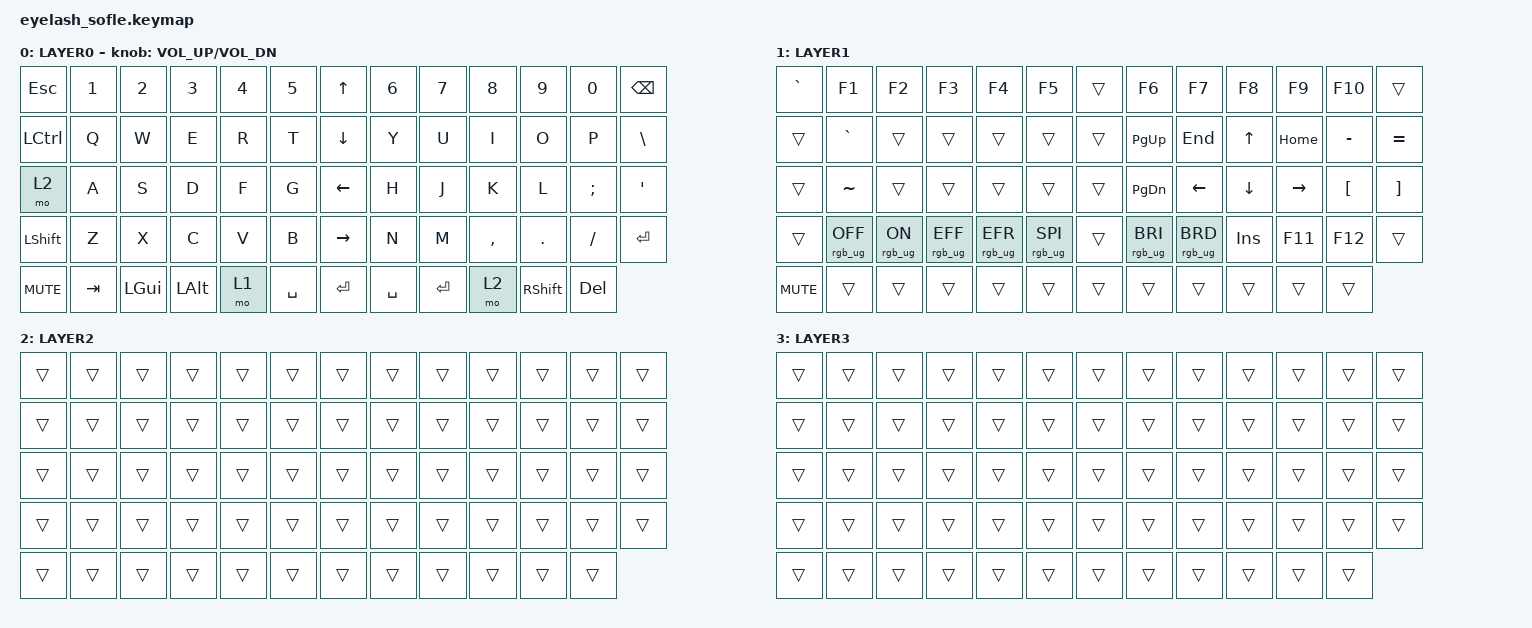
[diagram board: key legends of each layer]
#include <input/processors.dtsi>
#include <zephyr/dt-bindings/input/input-event-codes.h>
#include <behaviors.dtsi>
#include <dt-bindings/zmk/bt.h>
#include <dt-bindings/zmk/keys.h>
#include <dt-bindings/zmk/outputs.h>
#include <dt-bindings/zmk/rgb.h>


//    behaviors {
//    };

    keymap {
        compatible = "zmk,keymap";

        layer0 {
            bindings = <
&kp ESC     &kp N1     &kp N2        &kp N3        &kp N4  &kp N5       &kp UP_ARROW     &kp N6     &kp N7     &kp N8     &kp N9           &kp N0      &kp BACKSPACE
&kp LCTRL     &kp Q      &kp W         &kp E         &kp R   &kp T        &kp DOWN_ARROW   &kp Y      &kp U      &kp I      &kp O            &kp P       &kp BSLH
&mo 2    &kp A      &kp S         &kp D         &kp F   &kp G        &kp LEFT_ARROW   &kp H      &kp J      &kp K      &kp L            &kp SEMI    &kp APOS
&kp LSHFT   &kp Z      &kp X         &kp C         &kp V   &kp B        &kp RIGHT_ARROW  &kp N      &kp M      &kp COMMA  &kp DOT          &kp FSLH    &kp ENTER
&kp C_MUTE  &kp TAB  &kp LEFT_GUI  &kp LEFT_ALT  &mo 1   &kp SPACE    &kp ENTER        &kp SPACE  &kp ENTER  &mo 2      &kp RIGHT_SHIFT  &kp DELETE
            >;

            sensor-bindings = <&inc_dec_kp C_VOLUME_UP C_VOL_DN>;
            display-name = "LAYER0";
        };

        layer_1 {
            bindings = <
&kp GRAVE   &kp F1           &kp F2          &kp F3           &kp F4           &kp F5           &trans     &kp F6           &kp F7           &kp F8      &kp F9     &kp F10           &trans
&trans      &kp GRAVE        &trans          &trans           &trans           &trans           &trans   &kp PG_UP        &kp END          &kp UP      &kp HOME   &kp MINUS         &kp EQUAL
&trans      &kp TILDE        &trans          &trans           &trans           &trans           &trans   &kp PG_DN        &kp LEFT         &kp DOWN    &kp RIGHT  &kp LEFT_BRACKET  &kp RIGHT_BRACKET
&trans      &rgb_ug RGB_OFF  &rgb_ug RGB_ON  &rgb_ug RGB_EFF  &rgb_ug RGB_EFR  &rgb_ug RGB_SPI    &trans  &rgb_ug RGB_BRI  &rgb_ug RGB_BRD  &kp INSERT  &kp F11    &kp F12           &trans
&kp C_MUTE  &trans           &trans          &trans           &trans           &trans             &trans        &trans           &trans           &trans      &trans     &trans
            >;

            display-name = "LAYER1";
        };

        layer_2 {
            bindings = <
&trans  &trans  &trans  &trans  &trans  &trans    &trans  &trans  &trans  &trans  &trans  &trans  &trans
&trans  &trans  &trans  &trans  &trans  &trans    &trans  &trans  &trans  &trans  &trans  &trans  &trans
&trans  &trans  &trans  &trans  &trans  &trans    &trans  &trans  &trans  &trans  &trans  &trans  &trans
&trans  &trans  &trans  &trans  &trans  &trans    &trans  &trans  &trans  &trans  &trans  &trans  &trans
&trans  &trans  &trans  &trans  &trans  &trans    &trans  &trans  &trans  &trans  &trans  &trans
            >;

            display-name = "LAYER2";
        };

        layer_3 {
            bindings = <
&trans  &trans  &trans  &trans  &trans  &trans    &trans  &trans  &trans  &trans  &trans  &trans  &trans
&trans  &trans  &trans  &trans  &trans  &trans    &trans  &trans  &trans  &trans  &trans  &trans  &trans
&trans  &trans  &trans  &trans  &trans  &trans    &trans  &trans  &trans  &trans  &trans  &trans  &trans
&trans  &trans  &trans  &trans  &trans  &trans    &trans  &trans  &trans  &trans  &trans  &trans  &trans
&trans  &trans  &trans  &trans  &trans  &trans    &trans  &trans  &trans  &trans  &trans  &trans
            >;

            display-name = "LAYER3";
        };
    };
};
